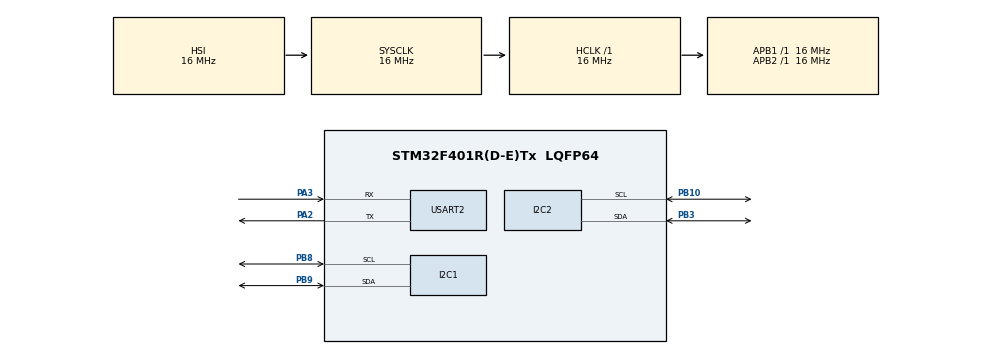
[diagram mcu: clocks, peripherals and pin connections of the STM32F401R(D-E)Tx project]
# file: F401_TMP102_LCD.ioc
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Mcu.Family=STM32F4
Mcu.Name=STM32F401R(D-E)Tx
Mcu.Package=LQFP64
NVIC.PriorityGroup=NVIC_PRIORITYGROUP_4
PA13.Mode=Serial_Wire
PA13.Signal=SYS_JTMS-SWDIO
PA14.Mode=Serial_Wire
PA14.Signal=SYS_JTCK-SWCLK
PA2.Mode=Asynchronous
PA2.Signal=USART2_TX
PA3.Mode=Asynchronous
PA3.Signal=USART2_RX
PB10.Mode=I2C
PB10.Signal=I2C2_SCL
PB3.Mode=I2C
PB3.Signal=I2C2_SDA
PB8.Mode=I2C
PB8.Signal=I2C1_SCL
PB9.Mode=I2C
PB9.Signal=I2C1_SDA
ProjectManager.HeapSize=0x200
ProjectManager.StackSize=0x400
ProjectManager.TargetToolchain=STM32CubeIDE
RCC.AHBFreq_Value=16000000
RCC.APB1Freq_Value=16000000
RCC.APB2Freq_Value=16000000
RCC.CortexFreq_Value=16000000
RCC.HSE_VALUE=25000000
RCC.HSI_VALUE=16000000
RCC.LSE_VALUE=32768
RCC.SYSCLKFreq_VALUE=16000000
RCC.VCOOutputFreq_Value=192000000
USART2.VirtualMode=VM_ASYNC
board=custom

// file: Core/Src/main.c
/* USER CODE BEGIN Header */
/**
  ******************************************************************************
  * @file           : main.c
  * @brief          : Main program body
  ******************************************************************************
  * @attention
  *
  * Copyright (c) 2024 STMicroelectronics.
  * All rights reserved.
  *
  * This software is licensed under terms that can be found in the LICENSE file
  * in the root directory of this software component.
  * If no LICENSE file comes with this software, it is provided AS-IS.
  *
  ******************************************************************************
  */
/* USER CODE END Header */
#include "main.h"

/* USER CODE BEGIN Includes */
#include "liquidcrystal_i2c.h"
#include "stdio.h"
#include "string.h"
/* USER CODE END Includes */

I2C_HandleTypeDef hi2c1;
I2C_HandleTypeDef hi2c2;

UART_HandleTypeDef huart2;

/* USER CODE BEGIN PV */
static const uint8_t TMP102_ADDR=0x48<<1;
static const uint8_t REG_TEMP = 0x00;

/* USER CODE END PV */

void SystemClock_Config(void);
static void MX_GPIO_Init(void);
static void MX_I2C1_Init(void);
static void MX_USART2_UART_Init(void);
static void MX_I2C2_Init(void);

int main(void)
{

  /* USER CODE BEGIN 1 */

  /* Pin out Connection
   * TMP102: SDA->D3; SCL->D6
   * LCD: SDA->D14; SCL->D15
   */
  HAL_StatusTypeDef ret;
  uint8_t buf[16];
  int16_t val;
  float temp_c;
  /* USER CODE END 1 */

  /* MCU Configuration--------------------------------------------------------*/

  /* Reset of all peripherals, Initializes the Flash interface and the Systick. */
  HAL_Init();

  /* Configure the system clock */
  SystemClock_Config();

  /* Initialize all configured peripherals */
  MX_GPIO_Init();
  MX_I2C1_Init();
  MX_USART2_UART_Init();
  MX_I2C2_Init();
  /* USER CODE BEGIN 2 */
  HD44780_Init(2);
  HD44780_Clear();
  HD44780_SetCursor(0,0);
  HD44780_PrintStr("Temperature is:");

  /* USER CODE END 2 */

  /* Infinite loop */
  /* USER CODE BEGIN WHILE */

	while (1)
	  {
		 // Tell TMP102 that we want to read from the temperature register
		 buf[0]=REG_TEMP;
		 ret=HAL_I2C_Master_Transmit(&hi2c2, TMP102_ADDR, buf, 1, HAL_MAX_DELAY);
		 if (ret!= HAL_OK){
			 strcpy((char*)buf, "Error Tx\r\n");
		 }else {
			 //Read 2 bytes from the temperature register
			 ret = HAL_I2C_Master_Receive(&hi2c2, TMP102_ADDR, buf, 2, HAL_MAX_DELAY);
			 if (ret !=HAL_OK){
				 strcpy((char*)buf, "Error Rx\r\n");
			 } else {
				 //Combine the bytes, so the first byte read is in buf[0] and second byte read is in buf[1];
				 val=((int16_t)buf[0]<<4)|(buf[1]>>4);

				 //Convert to 2's complement, since temperature can be negative
				 if (val>0x7FF) {
					 val |=0xF000;
				 }

				 // Convert to float temperature value (Celsius)
				 temp_c = val *0.0625;

				 // Convert temperature to decimal format
				 temp_c *=100;
				 sprintf((char*)buf, "%u.%02u C", ((unsigned int)temp_c/100), ((unsigned int)temp_c %100));

				 HD44780_SetCursor(0,1);
				 HD44780_PrintStr(buf);
				 HAL_Delay(314);
			 }
		 }

		 // Send out buffer (temperature or error message)
		 HAL_UART_Transmit(&huart2, buf, strlen((char*)buf), HAL_MAX_DELAY);
		 if ((unsigned int)temp_c/100>25) {
			 strcpy((char*)buf, "  Hot! Need Da Long Feng to cool it down\r\n");
			 HAL_UART_Transmit(&huart2, buf, strlen((char*)buf), HAL_MAX_DELAY);
			 } else {
				 strcpy((char*)buf, "  Not so hot, can consider reschedule\r\n");
				 HAL_UART_Transmit(&huart2, buf, strlen((char*)buf), HAL_MAX_DELAY);
			 }

		 HAL_Delay(1000);

    /* USER CODE END WHILE */

  }
}

void SystemClock_Config(void)
{
  RCC_OscInitTypeDef RCC_OscInitStruct = {0};
  RCC_ClkInitTypeDef RCC_ClkInitStruct = {0};

  /** Configure the main internal regulator output voltage
  */
  __HAL_RCC_PWR_CLK_ENABLE();
  __HAL_PWR_VOLTAGESCALING_CONFIG(PWR_REGULATOR_VOLTAGE_SCALE2);

  /** Initializes the RCC Oscillators according to the specified parameters
  * in the RCC_OscInitTypeDef structure.
  */
  RCC_OscInitStruct.OscillatorType = RCC_OSCILLATORTYPE_HSI;
  RCC_OscInitStruct.HSIState = RCC_HSI_ON;
  RCC_OscInitStruct.HSICalibrationValue = RCC_HSICALIBRATION_DEFAULT;
  RCC_OscInitStruct.PLL.PLLState = RCC_PLL_NONE;
  if (HAL_RCC_OscConfig(&RCC_OscInitStruct) != HAL_OK)
  {
    Error_Handler();
  }

  /** Initializes the CPU, AHB and APB buses clocks
  */
  RCC_ClkInitStruct.ClockType = RCC_CLOCKTYPE_HCLK|RCC_CLOCKTYPE_SYSCLK
                              |RCC_CLOCKTYPE_PCLK1|RCC_CLOCKTYPE_PCLK2;
  RCC_ClkInitStruct.SYSCLKSource = RCC_SYSCLKSOURCE_HSI;
  RCC_ClkInitStruct.AHBCLKDivider = RCC_SYSCLK_DIV1;
  RCC_ClkInitStruct.APB1CLKDivider = RCC_HCLK_DIV1;
  RCC_ClkInitStruct.APB2CLKDivider = RCC_HCLK_DIV1;

  if (HAL_RCC_ClockConfig(&RCC_ClkInitStruct, FLASH_LATENCY_0) != HAL_OK)
  {
    Error_Handler();
  }
}

static void MX_I2C1_Init(void)
{

  hi2c1.Instance = I2C1;
  hi2c1.Init.ClockSpeed = 100000;
  hi2c1.Init.DutyCycle = I2C_DUTYCYCLE_2;
  hi2c1.Init.OwnAddress1 = 0;
  hi2c1.Init.AddressingMode = I2C_ADDRESSINGMODE_7BIT;
  hi2c1.Init.DualAddressMode = I2C_DUALADDRESS_DISABLE;
  hi2c1.Init.OwnAddress2 = 0;
  hi2c1.Init.GeneralCallMode = I2C_GENERALCALL_DISABLE;
  hi2c1.Init.NoStretchMode = I2C_NOSTRETCH_DISABLE;
  if (HAL_I2C_Init(&hi2c1) != HAL_OK)
  {
    Error_Handler();
  }

}

static void MX_I2C2_Init(void)
{

  hi2c2.Instance = I2C2;
  hi2c2.Init.ClockSpeed = 100000;
  hi2c2.Init.DutyCycle = I2C_DUTYCYCLE_2;
  hi2c2.Init.OwnAddress1 = 0;
  hi2c2.Init.AddressingMode = I2C_ADDRESSINGMODE_7BIT;
  hi2c2.Init.DualAddressMode = I2C_DUALADDRESS_DISABLE;
  hi2c2.Init.OwnAddress2 = 0;
  hi2c2.Init.GeneralCallMode = I2C_GENERALCALL_DISABLE;
  hi2c2.Init.NoStretchMode = I2C_NOSTRETCH_DISABLE;
  if (HAL_I2C_Init(&hi2c2) != HAL_OK)
  {
    Error_Handler();
  }

}

static void MX_USART2_UART_Init(void)
{

  huart2.Instance = USART2;
  huart2.Init.BaudRate = 115200;
  huart2.Init.WordLength = UART_WORDLENGTH_8B;
  huart2.Init.StopBits = UART_STOPBITS_1;
  huart2.Init.Parity = UART_PARITY_NONE;
  huart2.Init.Mode = UART_MODE_TX_RX;
  huart2.Init.HwFlowCtl = UART_HWCONTROL_NONE;
  huart2.Init.OverSampling = UART_OVERSAMPLING_16;
  if (HAL_UART_Init(&huart2) != HAL_OK)
  {
    Error_Handler();
  }

}

static void MX_GPIO_Init(void)
{

  /* GPIO Ports Clock Enable */
  __HAL_RCC_GPIOA_CLK_ENABLE();
  __HAL_RCC_GPIOB_CLK_ENABLE();

}

void Error_Handler(void)
{
  __disable_irq();
  while (1)
  {
  }
}
